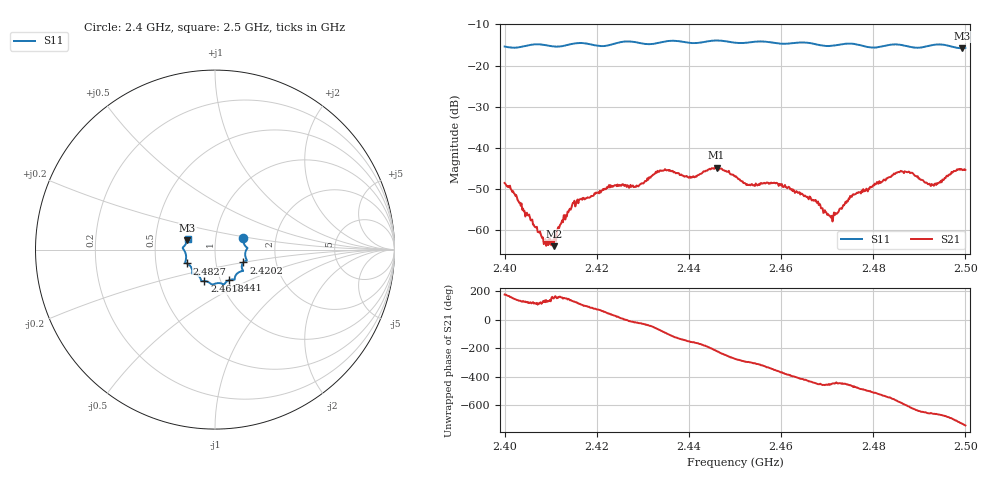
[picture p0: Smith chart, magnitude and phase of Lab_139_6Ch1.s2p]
# Hz S RI R 50
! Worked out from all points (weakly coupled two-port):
!   601 points, 2.4 GHz to 2.5 GHz, reference 50 ohm
!   highest |S21| = -44.81 dB at 2.446 GHz (marker M1); lowest = -63.9 dB at 2.4107 GHz (marker M2)
!   lowest |S11| = -15.8 dB at 2.4993 GHz (marker M3), VSWR 1.39, Z = 36.5 + j3.86 ohm
!   |S11| at or under -10 dB: start of sweep to end of sweep
!   S12 and S22 are empty: the file has one direction only
!   S11 on the Smith chart (normalised r, x): 2.4 GHz: 1.36, +0.18; 2.4202 GHz: 1.36, -0.20; 2.441 GHz: 1.10, -0.39; 2.4618 GHz: 0.84, -0.30; 2.4827 GHz: 0.72, -0.12; 2.5 GHz: 0.73, +0.09
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2.4e9  0.1581 0.0628  -0.00374 0.000128  0 0  0 0
2.408667e9  0.1776 0.00365  -0.000502 0.000482  0 0  0 0
2.410667e9  0.1698 -0.0129  -0.000561 0.000309  0 0  0 0
2.414667e9  0.1749 -0.0539  -0.00139 0.00148  0 0  0 0
2.416667e9  0.1775 -0.0606  -0.000695 0.00232  0 0  0 0
2.420167e9  0.1582 -0.0714  0.000868 0.00272  0 0  0 0
2.428667e9  0.1482 -0.1201  0.00328 -0.00118  0 0  0 0
2.433333e9  0.1118 -0.1509  0.00204 -0.0047  0 0  0 0
2.441e9  0.0784 -0.1698  -0.00414 -0.0018  0 0  0 0
2.446e9  0.0502 -0.1949  -0.00443 0.00366  0 0  0 0
2.45e9  0.0284 -0.1872  0.000342 0.00448  0 0  0 0
2.452833e9  0.000569 -0.19  0.00153 0.00318  0 0  0 0
2.461833e9  -0.0593 -0.1755  0.00286 -0.00164  0 0  0 0
2.466667e9  -0.0784 -0.1683  0.000533 -0.00224  0 0  0 0
2.470833e9  -0.1028 -0.1392  -8.99e-05 -0.00142  0 0  0 0
2.4755e9  -0.1272 -0.1326  -0.000729 -0.00259  0 0  0 0
2.482667e9  -0.1563 -0.0774  -0.00401 -0.000233  0 0  0 0
2.483333e9  -0.1606 -0.0754  -0.00435 0.000427  0 0  0 0
2.487333e9  -0.1623 -0.0565  -0.00235 0.00449  0 0  0 0
2.492833e9  -0.1769 0.00356  0.00172 0.00309  0 0  0 0
2.499333e9  -0.154 0.0515  0.00526 -0.00104  0 0  0 0
2.5e9  -0.1522 0.0609  0.00498 -0.00208  0 0  0 0
